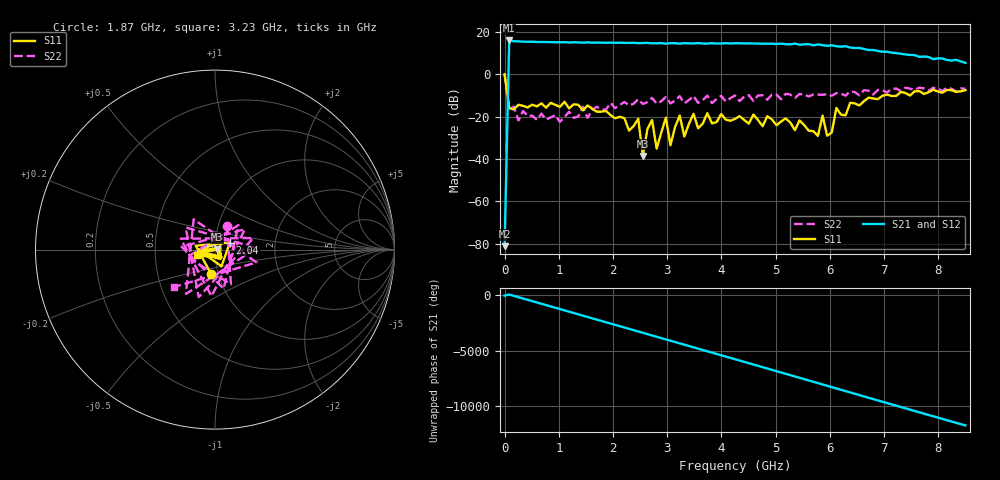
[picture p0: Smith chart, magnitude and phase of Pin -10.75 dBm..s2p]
! RsaToolbox (C) 2013 Rohde & Schwarz America
! Number of points: 101
! Number of ports: 2
! Balanced ports?: 0
# Hz S RI R 50
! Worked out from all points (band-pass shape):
!   101 points, 9 kHz to 8.5 GHz, reference 50 ohm
!   highest |S21| = 16.09 dB at 85.01 MHz (marker M1); lowest = -81.2 dB at 9 kHz (marker M2)
!   |S21| within 3 dB of the highest: 82.39 MHz to 6.328 GHz (6.246 GHz wide, 195 % of centre)
!   lowest |S11| = -38.6 dB at 2.55 GHz (marker M3), VSWR 1.02, Z = 51.2 + j0.141 ohm
!   |S11| at or under -10 dB: 53.54 MHz to 6.983 GHz (6.93 GHz wide, 197 % of centre); 7.117 GHz to 7.231 GHz (113.8 MHz wide, 1.59 % of centre)
!   |S22| runs from -22.4 to 0.2 dB; largest |S21 - S12| = 0
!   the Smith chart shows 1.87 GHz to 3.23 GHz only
!   S11 on the Smith chart (normalised r, x): 1.87 GHz: 0.92, -0.26; 2.04 GHz: 1.18, +0.09; 3.23 GHz: 0.81, -0.05
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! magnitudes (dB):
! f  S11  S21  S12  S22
! 9 kHz  0.1  -81.2  -81.2  0.2
! 85.01 MHz  -16.0  16.1  16.1  -16.6
! 1.02 GHz  -15.3  15.2  15.2  -22.4
! 1.445 GHz  -16.9  15.1  15.1  -15.3
! 1.87 GHz  -17.2  15.0  15.0  -16.6
! 2.04 GHz  -20.7  14.9  14.9  -15.9
! 2.465 GHz  -21.0  14.8  14.8  -11.7
! 2.55 GHz  -38.6  14.8  14.8  -14.0
! 2.72 GHz  -21.6  14.7  14.7  -11.1
! 2.805 GHz  -35.1  14.8  14.8  -13.8
! 2.89 GHz  -27.4  14.9  14.9  -12.7
! 2.975 GHz  -20.4  14.6  14.6  -10.6
! 3.06 GHz  -33.5  14.8  14.8  -13.7
! 3.23 GHz  -19.4  14.6  14.6  -10.2
! 3.315 GHz  -29.3  14.8  14.8  -13.6
! 3.485 GHz  -18.6  14.7  14.7  -10.2
! 3.57 GHz  -25.4  14.9  14.9  -13.4
! 4.25 GHz  -21.0  14.8  14.8  -9.9
! 5.695 GHz  -26.8  13.8  13.8  -9.5
! 6.12 GHz  -15.9  13.4  13.4  -8.8
! 7.14 GHz  -10.2  10.3  10.3  -6.8
! 8.5 GHz  -7.4  5.5  5.5  -6.7
